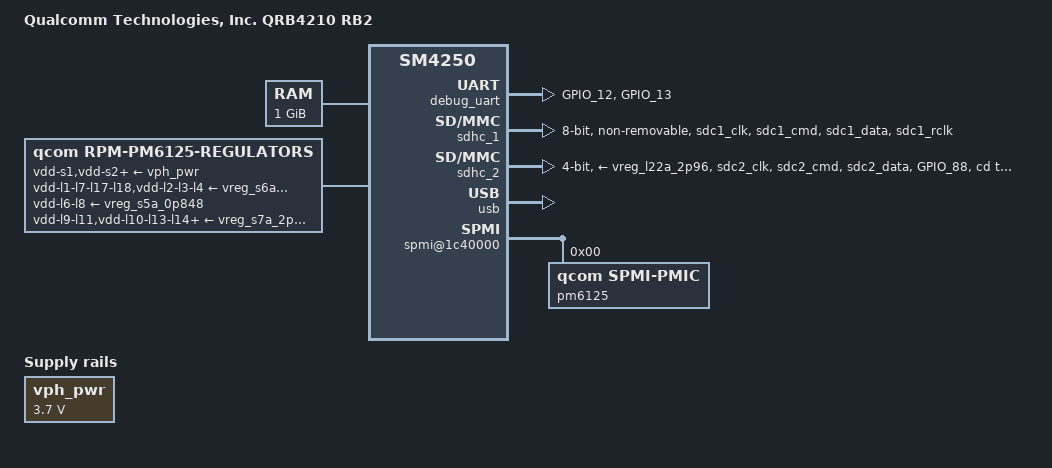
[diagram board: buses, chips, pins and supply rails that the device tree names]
// SPDX-License-Identifier: GPL-2.0+
/*
 * Qualcomm QRB4210-RB2 evaluation board device tree source
 *
 * (C) Copyright 2023 Bhupesh Sharma <bhupesh.sharma@linaro.org>
 */

/dts-v1/;

#include "skeleton64.dtsi"
#include <dt-bindings/gpio/gpio.h>
#include <dt-bindings/clock/qcom,gcc-sm6115.h>

/ {
	model = "Qualcomm Technologies, Inc. QRB4210 RB2";
	compatible = "qcom,qrb4210-rb2", "qcom,qrb4210", "qcom,sm4250";
	#address-cells = <2>;
	#size-cells = <2>;

	chosen {
		stdout-path = "serial0:115200n8";
	};

	aliases {
		serial0 = &debug_uart;
	};

	memory {
		device_type = "memory";
		reg = <0 0x80000000 0 0x40000000>;
	};

	vph_pwr: vph-pwr-regulator {
		compatible = "regulator-fixed";
		regulator-name = "vph_pwr";
		regulator-min-microvolt = <3700000>;
		regulator-max-microvolt = <3700000>;

		regulator-always-on;
		regulator-boot-on;
	};

	regulators {
		compatible = "qcom,rpm-pm6125-regulators";

		vdd-s1-supply = <&vph_pwr>;
		vdd-s2-supply = <&vph_pwr>;
		vdd-s3-supply = <&vph_pwr>;
		vdd-s4-supply = <&vph_pwr>;
		vdd-s5-supply = <&vph_pwr>;
		vdd-s6-supply = <&vph_pwr>;
		vdd-s7-supply = <&vph_pwr>;
		vdd-s8-supply = <&vph_pwr>;
		vdd-s9-supply = <&vph_pwr>;
		vdd-s10-supply = <&vph_pwr>;

		vdd-l1-l7-l17-l18-supply = <&vreg_s6a_1p352>;
		vdd-l2-l3-l4-supply = <&vreg_s6a_1p352>;
		vdd-l5-l15-l19-l20-l21-l22-supply = <&vph_pwr>;
		vdd-l6-l8-supply = <&vreg_s5a_0p848>;
		vdd-l9-l11-supply = <&vreg_s7a_2p04>;
		vdd-l10-l13-l14-supply = <&vreg_s7a_2p04>;
		vdd-l12-l16-supply = <&vreg_s7a_2p04>;
		vdd-l23-l24-supply = <&vph_pwr>;

		vreg_s5a_0p848: s5 {
			regulator-min-microvolt = <920000>;
			regulator-max-microvolt = <1128000>;
		};

		vreg_s6a_1p352: s6 {
			regulator-min-microvolt = <304000>;
			regulator-max-microvolt = <1456000>;
		};

		vreg_s7a_2p04: s7 {
			regulator-min-microvolt = <1280000>;
			regulator-max-microvolt = <2080000>;
		};

		vreg_l1a_1p0: l1 {
			regulator-min-microvolt = <952000>;
			regulator-max-microvolt = <1152000>;
		};

		vreg_l4a_0p9: l4 {
			regulator-min-microvolt = <488000>;
			regulator-max-microvolt = <1000000>;
		};

		vreg_l5a_2p96: l5 {
			regulator-min-microvolt = <1648000>;
			regulator-max-microvolt = <3056000>;
		};

		vreg_l6a_0p6: l6 {
			regulator-min-microvolt = <576000>;
			regulator-max-microvolt = <656000>;
		};

		vreg_l7a_1p256: l7 {
			regulator-min-microvolt = <1200000>;
			regulator-max-microvolt = <1304000>;
		};

		vreg_l8a_0p664: l8 {
			regulator-min-microvolt = <400000>;
			regulator-max-microvolt = <728000>;
		};

		vreg_l9a_1p8: l9 {
			regulator-min-microvolt = <1800000>;
			regulator-max-microvolt = <2000000>;
		};

		vreg_l10a_1p8: l10 {
			regulator-min-microvolt = <1704000>;
			regulator-max-microvolt = <1904000>;
		};

		vreg_l11a_1p8: l11 {
			regulator-min-microvolt = <1704000>;
			regulator-max-microvolt = <1952000>;
		};

		vreg_l12a_1p8: l12 {
			regulator-min-microvolt = <1624000>;
			regulator-max-microvolt = <1984000>;
		};

		vreg_l13a_1p8: l13 {
			regulator-min-microvolt = <1504000>;
			regulator-max-microvolt = <1952000>;
		};

		vreg_l14a_1p8: l14 {
			regulator-min-microvolt = <1704000>;
			regulator-max-microvolt = <1904000>;
		};

		vreg_l15a_3p128: l15 {
			regulator-min-microvolt = <2920000>;
			regulator-max-microvolt = <3232000>;
		};

		vreg_l16a_1p3: l16 {
			regulator-min-microvolt = <1704000>;
			regulator-max-microvolt = <1904000>;
		};

		vreg_l17a_1p3: l17 {
			regulator-min-microvolt = <1152000>;
			regulator-max-microvolt = <1384000>;
		};

		vreg_l18a_1p232: l18 {
			regulator-min-microvolt = <1104000>;
			regulator-max-microvolt = <1312000>;
		};

		vreg_l19a_1p8: l19 {
			regulator-min-microvolt = <1624000>;
			regulator-max-microvolt = <3304000>;
		};

		vreg_l20a_1p8: l20 {
			regulator-min-microvolt = <1624000>;
			regulator-max-microvolt = <3304000>;
		};

		vreg_l21a_2p704: l21 {
			regulator-min-microvolt = <2400000>;
			regulator-max-microvolt = <3600000>;
		};

		vreg_l22a_2p96: l22 {
			regulator-min-microvolt = <2952000>;
			regulator-max-microvolt = <3304000>;
			regulator-system-load = <100000>;
			regulator-allow-set-load;
		};

		vreg_l23a_3p3: l23 {
			regulator-min-microvolt = <3200000>;
			regulator-max-microvolt = <3400000>;
		};

		vreg_l24a_2p96: l24 {
			regulator-min-microvolt = <2704000>;
			regulator-max-microvolt = <3600000>;
			regulator-system-load = <100000>;
			regulator-allow-set-load;
		};
	};

	soc {
		#address-cells = <1>;
		#size-cells = <1>;
		ranges = <0 0 0 0xffffffff>;
		compatible = "simple-bus";

		tlmm: pinctrl_west@500000 {
			compatible = "qcom,sm6115-pinctrl";
			reg = <0x00500000 0x400000>,
			      <0x00d00000 0x400000>;
			gpio-count = <114>;
			gpio-controller;
			#gpio-cells = <2>;
			gpio-ranges = <&tlmm 0 0 114>;

			/* DEBUG UART */
			debug_uart_on: debug_uart-default {
				pins = "GPIO_12", "GPIO_13";
				function = "qup4";
			};

			sdc1_state_on: sdc1-on-state {
				clk-pins {
					pins = "sdc1_clk";
					bias-disable;
					drive-strength = <16>;
				};

				cmd-pins {
					pins = "sdc1_cmd";
					bias-pull-up;
					drive-strength = <10>;
				};

				data-pins {
					pins = "sdc1_data";
					bias-pull-up;
					drive-strength = <10>;
				};

				rclk-pins {
					pins = "sdc1_rclk";
					bias-pull-down;
				};
			};

			sdc1_state_off: sdc1-off-state {
				clk-pins {
					pins = "sdc1_clk";
					bias-disable;
					drive-strength = <2>;
				};

				cmd-pins {
					pins = "sdc1_cmd";
					bias-pull-up;
					drive-strength = <2>;
				};

				data-pins {
					pins = "sdc1_data";
					bias-pull-up;
					drive-strength = <2>;
				};

				rclk-pins {
					pins = "sdc1_rclk";
					bias-pull-down;
				};
			};

			sdc2_state_on: sdc2-on-state {
				clk-pins {
					pins = "sdc2_clk";
					bias-disable;
					drive-strength = <16>;
				};

				cmd-pins {
					pins = "sdc2_cmd";
					bias-pull-up;
					drive-strength = <10>;
				};

				data-pins {
					pins = "sdc2_data";
					bias-pull-up;
					drive-strength = <10>;
				};
			};

			sdc2_state_off: sdc2-off-state {
				clk-pins {
					pins = "sdc2_clk";
					bias-disable;
					drive-strength = <2>;
				};

				cmd-pins {
					pins = "sdc2_cmd";
					bias-pull-up;
					drive-strength = <2>;
				};

				data-pins {
					pins = "sdc2_data";
					bias-pull-up;
					drive-strength = <2>;
				};
			};

			sdc2_card_det_n: sd-card-det-n-state {
				pins = "GPIO_88";
				function = "gpio";
			};
		};

		gcc: clock-controller@1400000 {
			compatible = "qcom,gcc-sm6115";
			reg = <0x01400000 0x1f0000>;
			#clock-cells = <1>;
			#reset-cells = <1>;
			#power-domain-cells = <1>;
		};

		reset: gcc-reset@1400000 {
			compatible = "qcom,gcc-reset-sm6115";
			reg = <0x01400000 0x1f0000>;
			#reset-cells = <1>;
		};

		debug_uart: serial@4a90000 {
			compatible = "qcom,msm-geni-uart-v3-n-above";
			reg = <0x04a90000 0x4000>;
			clock-names = "se-clk";
			clocks = <&gcc GCC_QUPV3_WRAP0_S4_CLK>;
			pinctrl-names = "default";
			pinctrl-0 = <&debug_uart_on>;
		};

		sdhc_1: mmc@4744000 {
			compatible = "qcom,sdhci-msm-v5";
			reg = <0x04744000 0x1000 0x04745000 0x1000>;
			clock = <&gcc GCC_SDCC1_APPS_CLK>,
				<&gcc GCC_SDCC1_AHB_CLK>;
			bus-width = <8>;

			resets = <&reset GCC_SDCC1_BCR>;

			pinctrl-names = "default";
			pinctrl-0 = <&sdc1_state_on>;

			no-sd;
			no-sdio;
			non-removable;
		};

		sdhc_2: mmc@4784000 {
			compatible = "qcom,sdhci-msm-v5";
			reg = <0x04784000 0x1000>;
			clock = <&gcc GCC_SDCC2_APPS_CLK>,
				<&gcc GCC_SDCC2_AHB_CLK>;
			bus-width = <4>;

			resets = <&reset GCC_SDCC2_BCR>;

			cd-gpios = <&tlmm 88 GPIO_ACTIVE_LOW>; /* card detect gpio */
			vmmc-supply = <&vreg_l22a_2p96>;
			vqmmc-supply = <&vreg_l5a_2p96>;

			pinctrl-names = "default";
			pinctrl-0 = <&sdc2_state_on &sdc2_card_det_n>;

			no-mmc;
		};

		usb_hsphy: phy@1613000 {
			compatible = "qcom,sm6115-qusb2-phy";
			reg = <0x01613000 0x180>;
			#phy-cells = <0>;

			clocks = <&gcc GCC_AHB2PHY_USB_CLK>;
			clock-names = "cfg_ahb";

			resets = <&reset GCC_QUSB2PHY_PRIM_BCR>;
			reset-names = "phy";
		};

		usb_qmpphy: phy@1615000 {
			compatible = "qcom,sm6115-qmp-usb3-phy";
			reg = <0x01615000 0x1000>;

			clocks = <&gcc GCC_AHB2PHY_USB_CLK>,
				 <&gcc GCC_USB3_PRIM_CLKREF_CLK>,
				 <&gcc GCC_USB3_PRIM_PHY_COM_AUX_CLK>,
				 <&gcc GCC_USB3_PRIM_PHY_PIPE_CLK>;
			clock-names = "cfg_ahb",
				      "ref",
				      "com_aux",
				      "pipe";

			resets = <&reset GCC_USB3_PHY_PRIM_SP0_BCR>,
				 <&reset GCC_USB3PHY_PHY_PRIM_SP0_BCR>;
			reset-names = "phy", "phy_phy";

			#clock-cells = <0>;
			clock-output-names = "usb3_phy_pipe_clk_src";

			#phy-cells = <0>;
		};

		usb: usb@4ef8800 {
			compatible = "com,sm6115-dwc3", "qcom,dwc3";
			reg = <0x04ef8800 0x400>;
			#address-cells = <1>;
			#size-cells = <1>;
			ranges;

			clocks = <&gcc GCC_CFG_NOC_USB3_PRIM_AXI_CLK>,
				 <&gcc GCC_USB30_PRIM_MASTER_CLK>,
				 <&gcc GCC_SYS_NOC_USB3_PRIM_AXI_CLK>,
				 <&gcc GCC_USB30_PRIM_SLEEP_CLK>,
				 <&gcc GCC_USB30_PRIM_MOCK_UTMI_CLK>,
				 <&gcc GCC_USB3_PRIM_CLKREF_CLK>;
			clock-names = "cfg_noc", "core", "iface", "sleep", "mock_utmi", "xo";

			assigned-clocks = <&gcc GCC_USB30_PRIM_MOCK_UTMI_CLK>,
					  <&gcc GCC_USB30_PRIM_MASTER_CLK>;
			assigned-clock-rates = <19200000>, <66666667>;

			resets = <&reset GCC_USB30_PRIM_BCR>;
			power-domains = <&gcc GCC_USB30_PRIM_GDSC>;
			qcom,select-utmi-as-pipe-clk;

			usb_dwc3: usb@4e00000 {
				compatible = "snps,dwc3";
				reg = <0x04e00000 0xcd00>;
				phys = <&usb_hsphy>, <&usb_qmpphy>;
				phy-names = "usb2-phy", "usb3-phy";
				snps,dis_u2_susphy_quirk;
				snps,dis_enblslpm_quirk;
				snps,has-lpm-erratum;
				snps,hird-threshold = /bits/ 8 <0x10>;
				snps,usb3_lpm_capable;
				maximum-speed = "super-speed";
				dr_mode = "host";
			};
		};

		spmi@1c40000 {
			compatible = "qcom,spmi-pmic-arb";
			reg = <0x01c0a000 0x26000>,
			      <0x01c40000 0x1100>,
			      <0x03e00000 0x100000>;
			reg-names = "cnfg", "core", "obsrvr";
			#address-cells = <1>;
			#size-cells = <0>;

			pm6125: pm6125@0 {
				compatible = "qcom,spmi-pmic";
				reg = <0x0 0x1>;
				#address-cells = <1>;
				#size-cells = <0>;

				pm6125_gpios: pm6125_gpios@c000 {
					compatible = "qcom,pm6125-gpio";
					reg = <0xc000>;
					gpio-controller;
					gpio-count = <9>;
					#gpio-cells = <2>;
					gpio-bank-name="pmic";
				};
			};
		};
	};
};

#include "qrb4210-rb2-uboot.dtsi"
